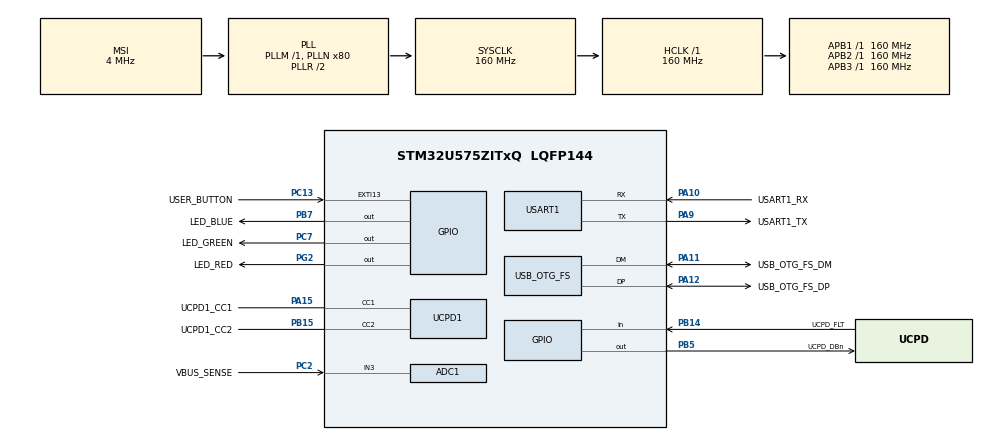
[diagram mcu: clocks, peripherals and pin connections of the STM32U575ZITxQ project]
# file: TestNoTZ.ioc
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ADC1.NbrOfConversion=1
ADC1.Resolution=ADC_RESOLUTION_14B
ADC1.master=1
CORTEX_M33_NS.userName=CORTEX_M33
Mcu.Family=STM32U5
Mcu.Name=STM32U575ZITxQ
Mcu.Package=LQFP144
NVIC.OTG_FS_IRQn=true\:0\:0\:false\:false\:true\:true\:true\:true
NVIC.PriorityGroup=NVIC_PRIORITYGROUP_3
NVIC.RNG_IRQn=true\:0\:0\:false\:false\:true\:true\:true\:true
NVIC.TIM1_UP_IRQn=true\:7\:0\:false\:false\:true\:false\:true\:true
NVIC.TimeBase=TIM1_UP_IRQn
NVIC.TimeBaseIP=TIM1
NVIC.USART1_IRQn=true\:0\:0\:false\:false\:true\:true\:true\:true
PA10.GPIO_Label=USART1_RX
PA10.GPIO_PuPd=GPIO_PULLDOWN
PA10.GPIO_Speed=GPIO_SPEED_FREQ_VERY_HIGH
PA10.Mode=Asynchronous
PA10.Signal=USART1_RX
PA11.GPIO_Label=USB_OTG_FS_DM
PA11.GPIO_Speed=GPIO_SPEED_FREQ_VERY_HIGH
PA11.Mode=Device_Only
PA11.Signal=USB_OTG_FS_DM
PA12.GPIO_Label=USB_OTG_FS_DP
PA12.GPIO_Speed=GPIO_SPEED_FREQ_VERY_HIGH
PA12.Mode=Device_Only
PA12.Signal=USB_OTG_FS_DP
PA13\ (JTMS/SWDIO).Mode=Trace_Asynchronous_SW
PA13\ (JTMS/SWDIO).Signal=DEBUG_JTMS-SWDIO
PA14\ (JTCK/SWCLK).Mode=Trace_Asynchronous_SW
PA14\ (JTCK/SWCLK).Signal=DEBUG_JTCK-SWCLK
PA15\ (JTDI).GPIO_Label=UCPD1_CC1
PA15\ (JTDI).Mode=Sink_AllSignals
PA15\ (JTDI).Signal=UCPD1_CC1
PA9.GPIO_Label=USART1_TX
PA9.GPIO_PuPd=GPIO_PULLDOWN
PA9.GPIO_Speed=GPIO_SPEED_FREQ_VERY_HIGH
PA9.Mode=Asynchronous
PA9.Signal=USART1_TX
PB14.GPIO_Label=UCPD_FLT
PB14.Signal=GPIO_Input
PB15.GPIO_Label=UCPD1_CC2
PB15.Mode=Sink_AllSignals
PB15.Signal=UCPD1_CC2
PB3\ (JTDO/TRACESWO).Mode=Trace_Asynchronous_SW
PB3\ (JTDO/TRACESWO).Signal=DEBUG_JTDO-SWO
PB5.GPIO_Label=UCPD_DBn
PB5.Signal=GPIO_Output
PB7.GPIO_Label=LED_BLUE
PB7.GPIO_ModeDefaultOutputPP=GPIO_MODE_OUTPUT_PP
PB7.GPIO_PuPd=GPIO_PULLUP
PB7.GPIO_Speed=GPIO_SPEED_FREQ_HIGH
PB7.Signal=GPIO_Output
PC13.GPIO_Label=USER_BUTTON
PC13.GPIO_ModeDefaultEXTI=GPIO_MODE_IT_FALLING
PC13.Signal=GPXTI13
PC14-OSC32_IN\ (PC14).Mode=LSE-External-Oscillator
PC14-OSC32_IN\ (PC14).Signal=RCC_OSC32_IN
PC15-OSC32_OUT\ (PC15).Mode=LSE-External-Oscillator
PC15-OSC32_OUT\ (PC15).Signal=RCC_OSC32_OUT
PC2.GPIO_Label=VBUS_SENSE
PC2.Mode=IN3-Single-Ended
PC2.Signal=ADC1_IN3
PC7.GPIO_Label=LED_GREEN
PC7.GPIO_PuPd=GPIO_PULLUP
PC7.GPIO_Speed=GPIO_SPEED_FREQ_HIGH
PC7.Signal=GPIO_Output
PG2.GPIO_Label=LED_RED
PG2.GPIO_ModeDefaultOutputPP=GPIO_MODE_OUTPUT_PP
PG2.GPIO_PuPd=GPIO_PULLUP
PG2.GPIO_Speed=GPIO_SPEED_FREQ_HIGH
PG2.Signal=GPIO_Output
PWR.PowerMode=PWR_SMPS_SUPPLY
ProjectManager.HeapSize=0x200
ProjectManager.StackSize=0x400
ProjectManager.TargetToolchain=STM32CubeIDE
RCC.ADCFreq_Value=16000000
RCC.AHBFreq_Value=160000000
RCC.APB1Freq_Value=160000000
RCC.APB1TimFreq_Value=160000000
RCC.APB2Freq_Value=160000000
RCC.APB2TimFreq_Value=160000000
RCC.APB3Freq_Value=160000000
RCC.CortexFreq_Value=160000000
RCC.DACCLockSelectionVirtual=RCC_DAC1CLKSOURCE_LSI
RCC.EPOD_VALUE=4000000
RCC.HCLKFreq_Value=160000000
RCC.HSE_VALUE=16000000
RCC.HSI48_VALUE=48000000
RCC.HSI_VALUE=16000000
RCC.LSIDIV_VALUE=32000
RCC.MSI_VALUE=4000000
RCC.PLLN=80
RCC.SYSCLKFreq_VALUE=160000000
RCC.SYSCLKSource=RCC_SYSCLKSOURCE_PLLCLK
RCC.USBFreq_Value=48000000
RCC.VCOOutputFreq_Value=320000000
USART1.VirtualMode-Asynchronous=VM_ASYNC
USB_OTG_FS.VirtualMode=Device_Only
VP_ICACHE_VS_ENABLE_ICACHE_MEMORY.Mode=Memoryregions
VP_ICACHE_VS_ICACHE.Mode=DirectMappedCache
VP_LPBAMQUEUE_VS_QUEUE.Mode=QUEUEMODE
VP_LPBAM_VS_SIG1.Mode=SmartRun
VP_LPBAM_VS_SIG4.Mode=LPDMA1
VP_MEMORYMAP_VS_MEMORYMAP.Mode=CurAppReg
VP_PWR_VS_DBSignals.Mode=DisableDeadBatterySignals
VP_PWR_VS_LPOM.Mode=PowerOptimisation
VP_PWR_VS_SECSignals.Mode=Security/Privilege
VP_PWR_Vdda.Mode=isolationVdda
VP_RNG_VS_RNG.Mode=RNG_Activate
VP_RTC_VS_RTC_Activate.Mode=RTC_Enabled
VP_SYS_VS_tim1.Mode=TIM1
VP_wolfSSL.I-CUBE-wolfSSL_VS_wolfSSLJjwolfSSL_5.7.2_5.7.2.Mode=wolfSSLJjwolfSSL
board=NUCLEO-U575ZI-Q
wolfSSL.I-CUBE-wolfSSL.5.7.2.WOLF_CONF_MATH=4
wolfSSL.I-CUBE-wolfSSL.5.7.2.wolfSSLCcwolfSSLJjwolfCryptJjCore=true
wolfSSL.I-CUBE-wolfSSL.5.7.2.wolfSSLCcwolfSSLJjwolfCryptJjTest=true
wolfSSL.I-CUBE-wolfSSL.5.7.2.wolfSSLCcwolfSSLJjwolfSSLJjCore=true

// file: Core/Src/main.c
/* USER CODE BEGIN Header */
/**
  ******************************************************************************
  * @file           : main.c
  * @brief          : Main program body
  ******************************************************************************
  * @attention
  *
  * Copyright (c) 2024 STMicroelectronics.
  * All rights reserved.
  *
  * This software is licensed under terms that can be found in the LICENSE file
  * in the root directory of this software component.
  * If no LICENSE file comes with this software, it is provided AS-IS.
  *
  ******************************************************************************
  */
/* USER CODE END Header */
#include "main.h"

/* USER CODE BEGIN Includes */
#include "wolfssl/options.h"
#include "wolfssl/wolfcrypt/rsa.h"
#include "wolfssl/wolfcrypt/random.h"
#include "wolfssl/wolfcrypt/error-crypt.h"
/* USER CODE END Includes */

ADC_HandleTypeDef hadc1;

RNG_HandleTypeDef hrng;

RTC_HandleTypeDef hrtc;

UART_HandleTypeDef huart1;

PCD_HandleTypeDef hpcd_USB_OTG_FS;

/* USER CODE BEGIN PV */
RsaKey rsaKey;
byte publicKeyDer[4096];
byte privateKeyDer[4096];
word32 publicKeyDerSz;
word32 privateKeyDerSz;
WC_RNG rng;
/* USER CODE END PV */

void SystemClock_Config(void);
static void SystemPower_Config(void);
static void MX_GPIO_Init(void);
static void MX_ADC1_Init(void);
static void MX_ICACHE_Init(void);
static void MX_UCPD1_Init(void);
static void MX_USART1_UART_Init(void);
static void MX_USB_OTG_FS_PCD_Init(void);
static void MX_RNG_Init(void);
static void MX_RTC_Init(void);
/* USER CODE BEGIN PFP */
/* Retargets the C library printf function to the USART. */
#include <stdio.h>
#ifdef __GNUC__
int __io_putchar(int ch)
#else
int fputc(int ch, FILE *f)
#endif
{
    HAL_UART_Transmit(&huart1, (uint8_t *)&ch, 1, 0xFFFF);

    return ch;
}
#ifdef __GNUC__
int _write(int file,char *ptr, int len)
{
    int DataIdx;
    for (DataIdx= 0; DataIdx< len; DataIdx++) {
        __io_putchar(*ptr++);
    }
    return len;
}
#endif
/* USER CODE END PFP */

/* USER CODE BEGIN 0 */
int rsa_encrypt(byte* input, word32 inputSz, byte* output, word32* outputSz) {
    int ret;
    RsaKey publicKey;
    word32 idx = 0;

    /* INITIALIZING RSA PUBLIC KEY */
    wc_InitRsaKey(&publicKey, NULL);

    /* DECODING PUBLIC KEY */
    ret = wc_RsaPublicKeyDecode(publicKeyDer, &idx, &publicKey, publicKeyDerSz);
    if (ret != 0) {
        return ret;
    }
    /* ENCRYPTING DATA */

    ret = wc_RsaPublicEncrypt(input, inputSz, output, *outputSz, &publicKey, &rng);
    if (ret < 0) {
        return ret;
    }

    *outputSz = ret;

    /* RELEASING RESOURCES */
    wc_FreeRsaKey(&publicKey);

    return ret;
}

int rsa_decrypt(byte* input, word32 inputSz, byte* output, word32* outputSz) {
    int ret;
    RsaKey privateKey;
    word32 idx = 0;

    /* INITIALIZING RSA PRIVATE KEY */
    wc_InitRsaKey(&privateKey, NULL);

    /* DECODING PUBLIC KEY */
    ret = wc_RsaPrivateKeyDecode(privateKeyDer, &idx, &privateKey, privateKeyDerSz);
    if (ret != 0) {
            return ret;
    }

    /* DECRYPTING DATA */
    wc_RsaSetRNG(&privateKey, &rng);
    ret = wc_RsaPrivateDecrypt(input, inputSz, output, *outputSz, &privateKey);
    if (ret < 0) {
        return ret;
    }

    *outputSz = ret;
    /* RELEASING RESOURCES */
    wc_FreeRsaKey(&privateKey);

    return ret;
}

int generate_rsa_key() {
    int ret;
    long e = 65537;

    // RsaKey initialization
    wc_InitRsaKey(&rsaKey, NULL);

    // generate 2048 bit long private key
    ret = wc_MakeRsaKey(&rsaKey, 2048, e, &rng);
    if( ret != 0 ) {
          return ret;
    }

    /* SAVING KEY IN DER FORMAT */
     privateKeyDerSz = sizeof(privateKeyDer);
     ret = wc_RsaKeyToDer(&rsaKey, privateKeyDer, privateKeyDerSz);
     if (ret < 0) {
         return ret;
     }

     privateKeyDerSz = ret; // actual size of the key

     /* EXTRACTING PUBLIC KEY */
     publicKeyDerSz = sizeof(publicKeyDer);
     ret = wc_RsaKeyToPublicDer(&rsaKey, publicKeyDer, publicKeyDerSz);
     if (ret < 0) {
         return ret;
     }

     publicKeyDerSz = ret;  // actual size of the key

     return ret;
}

int init_rng() {
    int to_return;
    to_return = wc_InitRng(&rng);
    if (to_return != 0) {
        return to_return;
    }
    return to_return;
}

void print_hex(const unsigned char* data, size_t len) {
    for (size_t i = 0; i < len; i++) {
        printf("%02x", data[i]);
    }
    printf("\r\n");
}

int hex_to_bytes(const char* hex_str, unsigned char* byte_array, size_t byte_array_len) {
    size_t hex_len = strlen(hex_str);
    if (hex_len % 2 != 0) {
        return -1;
    }

    if (hex_len / 2 > byte_array_len) {
        return -1;
    }

    for (size_t i = 0; i < hex_len; i += 2) {
        if (!isxdigit(hex_str[i]) || !isxdigit(hex_str[i + 1])) {
            return -1;
        }

        char byte_str[3] = { hex_str[i], hex_str[i + 1], '\0' };
        byte_array[i / 2] = (unsigned char)strtol(byte_str, NULL, 16);
    }

    return 0;
}

int rsa_enc_dec_example() {
    int ret;
    byte data[32] = "Test di cifratura";
    byte encrypted[256];
    byte decrypted[384];
    word32 inLen = sizeof(data);
    word32 outLen = sizeof(encrypted);
    word32 decryptedLen = 0;

    wolfCrypt_Init();

    ret = init_rng();
    if (ret != 0) {
        printf("Error init rng\n\r");
        goto exit;
    }

    ret = generate_rsa_key();
    if (ret < 0) {
        printf("Error rsa keygen\n\r");
        goto exit;
    }

    /* Dummy input data of all 4 */
//    memset(data, 4, inLen);

    ret = rsa_encrypt(data, inLen, encrypted, &outLen);
    if (ret < 0) {
        printf("Error rsa encrypt\n\r");
        goto exit;
    }

    decryptedLen = sizeof(decrypted);
    ret = rsa_decrypt(encrypted, outLen, decrypted, &decryptedLen);
    if (ret < 0) {
        printf("Error rsa decrypt\n\r");
        goto exit;
    }

    if (decryptedLen != inLen) {
        printf("Decrypt mismatch\n\r");
        ret = -1;
        goto exit;
    }

    if (XMEMCMP(data, decrypted, decryptedLen) != 0) {
        printf("Decrypt mismatch\n\r");
        ret = -1;
        goto exit;
    }

    ret = 0;
    printf("RSA decrypt success\n\r");

exit:
    return ret;
}
/* USER CODE END 0 */

int main(void)
{

  /* USER CODE BEGIN 1 */
	/* Turn off buffers, so I/O occurs immediately */
	setvbuf(stdin, NULL, _IONBF, 0);
	setvbuf(stdout, NULL, _IONBF, 0);
	setvbuf(stderr, NULL, _IONBF, 0);

  /* USER CODE END 1 */

  /* MCU Configuration--------------------------------------------------------*/

  /* Reset of all peripherals, Initializes the Flash interface and the Systick. */
  HAL_Init();

  /* Configure the system clock */
  SystemClock_Config();

  /* Configure the System Power */
  SystemPower_Config();

  /* Initialize all configured peripherals */
  MX_GPIO_Init();
  MX_ADC1_Init();
  MX_ICACHE_Init();
  MX_UCPD1_Init();
  MX_USART1_UART_Init();
  MX_USB_OTG_FS_PCD_Init();
  MX_RNG_Init();
  MX_RTC_Init();
  /* USER CODE BEGIN 2 */
  rsa_enc_dec_example();
  /* USER CODE END 2 */

  /* Infinite loop */
  while (1)
  {

  }
}

void SystemClock_Config(void)
{
  RCC_OscInitTypeDef RCC_OscInitStruct = {0};
  RCC_ClkInitTypeDef RCC_ClkInitStruct = {0};

  /** Configure the main internal regulator output voltage
  */
  if (HAL_PWREx_ControlVoltageScaling(PWR_REGULATOR_VOLTAGE_SCALE1) != HAL_OK)
  {
    Error_Handler();
  }

  /** Initializes the CPU, AHB and APB buses clocks
  */
  RCC_OscInitStruct.OscillatorType = RCC_OSCILLATORTYPE_HSI48|RCC_OSCILLATORTYPE_HSI
                              |RCC_OSCILLATORTYPE_LSI|RCC_OSCILLATORTYPE_MSI;
  RCC_OscInitStruct.HSIState = RCC_HSI_ON;
  RCC_OscInitStruct.HSI48State = RCC_HSI48_ON;
  RCC_OscInitStruct.HSICalibrationValue = RCC_HSICALIBRATION_DEFAULT;
  RCC_OscInitStruct.LSIState = RCC_LSI_ON;
  RCC_OscInitStruct.MSIState = RCC_MSI_ON;
  RCC_OscInitStruct.MSICalibrationValue = RCC_MSICALIBRATION_DEFAULT;
  RCC_OscInitStruct.MSIClockRange = RCC_MSIRANGE_4;
  RCC_OscInitStruct.LSIDiv = RCC_LSI_DIV1;
  RCC_OscInitStruct.PLL.PLLState = RCC_PLL_ON;
  RCC_OscInitStruct.PLL.PLLSource = RCC_PLLSOURCE_MSI;
  RCC_OscInitStruct.PLL.PLLMBOOST = RCC_PLLMBOOST_DIV1;
  RCC_OscInitStruct.PLL.PLLM = 1;
  RCC_OscInitStruct.PLL.PLLN = 80;
  RCC_OscInitStruct.PLL.PLLP = 2;
  RCC_OscInitStruct.PLL.PLLQ = 2;
  RCC_OscInitStruct.PLL.PLLR = 2;
  RCC_OscInitStruct.PLL.PLLRGE = RCC_PLLVCIRANGE_0;
  RCC_OscInitStruct.PLL.PLLFRACN = 0;
  if (HAL_RCC_OscConfig(&RCC_OscInitStruct) != HAL_OK)
  {
    Error_Handler();
  }

  /** Initializes the CPU, AHB and APB buses clocks
  */
  RCC_ClkInitStruct.ClockType = RCC_CLOCKTYPE_HCLK|RCC_CLOCKTYPE_SYSCLK
                              |RCC_CLOCKTYPE_PCLK1|RCC_CLOCKTYPE_PCLK2
                              |RCC_CLOCKTYPE_PCLK3;
  RCC_ClkInitStruct.SYSCLKSource = RCC_SYSCLKSOURCE_PLLCLK;
  RCC_ClkInitStruct.AHBCLKDivider = RCC_SYSCLK_DIV1;
  RCC_ClkInitStruct.APB1CLKDivider = RCC_HCLK_DIV1;
  RCC_ClkInitStruct.APB2CLKDivider = RCC_HCLK_DIV1;
  RCC_ClkInitStruct.APB3CLKDivider = RCC_HCLK_DIV1;

  if (HAL_RCC_ClockConfig(&RCC_ClkInitStruct, FLASH_LATENCY_4) != HAL_OK)
  {
    Error_Handler();
  }
}

/**
  * @brief Power Configuration
  * @retval None
  */
static void SystemPower_Config(void)
{
  HAL_PWREx_EnableVddIO2();

  /*
   * Switch to SMPS regulator instead of LDO
   */
  if (HAL_PWREx_ConfigSupply(PWR_SMPS_SUPPLY) != HAL_OK)
  {
    Error_Handler();
  }
}

static void MX_ADC1_Init(void)
{

  /** Common config
  */
  hadc1.Instance = ADC1;
  hadc1.Init.ClockPrescaler = ADC_CLOCK_ASYNC_DIV1;
  hadc1.Init.Resolution = ADC_RESOLUTION_14B;
  hadc1.Init.GainCompensation = 0;
  hadc1.Init.ScanConvMode = ADC_SCAN_DISABLE;
  hadc1.Init.EOCSelection = ADC_EOC_SINGLE_CONV;
  hadc1.Init.LowPowerAutoWait = DISABLE;
  hadc1.Init.ContinuousConvMode = DISABLE;
  hadc1.Init.NbrOfConversion = 1;
  hadc1.Init.DiscontinuousConvMode = DISABLE;
  hadc1.Init.DMAContinuousRequests = DISABLE;
  hadc1.Init.TriggerFrequencyMode = ADC_TRIGGER_FREQ_HIGH;
  hadc1.Init.Overrun = ADC_OVR_DATA_PRESERVED;
  hadc1.Init.LeftBitShift = ADC_LEFTBITSHIFT_NONE;
  hadc1.Init.ConversionDataManagement = ADC_CONVERSIONDATA_DR;
  hadc1.Init.OversamplingMode = DISABLE;
  if (HAL_ADC_Init(&hadc1) != HAL_OK)
  {
    Error_Handler();
  }

}

static void MX_ICACHE_Init(void)
{

  /** Enable instruction cache in 1-way (direct mapped cache)
  */
  if (HAL_ICACHE_ConfigAssociativityMode(ICACHE_1WAY) != HAL_OK)
  {
    Error_Handler();
  }
  if (HAL_ICACHE_Enable() != HAL_OK)
  {
    Error_Handler();
  }

}

static void MX_RNG_Init(void)
{

  hrng.Instance = RNG;
  hrng.Init.ClockErrorDetection = RNG_CED_ENABLE;
  if (HAL_RNG_Init(&hrng) != HAL_OK)
  {
    Error_Handler();
  }

}

static void MX_RTC_Init(void)
{

  RTC_PrivilegeStateTypeDef privilegeState = {0};

  /** Initialize RTC Only
  */
  hrtc.Instance = RTC;
  hrtc.Init.HourFormat = RTC_HOURFORMAT_24;
  hrtc.Init.AsynchPrediv = 127;
  hrtc.Init.SynchPrediv = 255;
  hrtc.Init.OutPut = RTC_OUTPUT_DISABLE;
  hrtc.Init.OutPutRemap = RTC_OUTPUT_REMAP_NONE;
  hrtc.Init.OutPutPolarity = RTC_OUTPUT_POLARITY_HIGH;
  hrtc.Init.OutPutType = RTC_OUTPUT_TYPE_OPENDRAIN;
  hrtc.Init.OutPutPullUp = RTC_OUTPUT_PULLUP_NONE;
  hrtc.Init.BinMode = RTC_BINARY_NONE;
  if (HAL_RTC_Init(&hrtc) != HAL_OK)
  {
    Error_Handler();
  }
  privilegeState.rtcPrivilegeFull = RTC_PRIVILEGE_FULL_NO;
  privilegeState.backupRegisterPrivZone = RTC_PRIVILEGE_BKUP_ZONE_NONE;
  privilegeState.backupRegisterStartZone2 = RTC_BKP_DR0;
  privilegeState.backupRegisterStartZone3 = RTC_BKP_DR0;
  if (HAL_RTCEx_PrivilegeModeSet(&hrtc, &privilegeState) != HAL_OK)
  {
    Error_Handler();
  }

}

static void MX_UCPD1_Init(void)
{

  LL_GPIO_InitTypeDef GPIO_InitStruct = {0};

  /* Peripheral clock enable */
  LL_APB1_GRP2_EnableClock(LL_APB1_GRP2_PERIPH_UCPD1);

  LL_AHB2_GRP1_EnableClock(LL_AHB2_GRP1_PERIPH_GPIOB);
  LL_AHB2_GRP1_EnableClock(LL_AHB2_GRP1_PERIPH_GPIOA);
  /**UCPD1 GPIO Configuration
  PB15   ------> UCPD1_CC2
  PA15 (JTDI)   ------> UCPD1_CC1
  */
  GPIO_InitStruct.Pin = LL_GPIO_PIN_15;
  GPIO_InitStruct.Mode = LL_GPIO_MODE_ANALOG;
  GPIO_InitStruct.Pull = LL_GPIO_PULL_NO;
  LL_GPIO_Init(GPIOB, &GPIO_InitStruct);

  GPIO_InitStruct.Pin = LL_GPIO_PIN_15;
  GPIO_InitStruct.Mode = LL_GPIO_MODE_ANALOG;
  GPIO_InitStruct.Pull = LL_GPIO_PULL_NO;
  LL_GPIO_Init(GPIOA, &GPIO_InitStruct);

}

static void MX_USART1_UART_Init(void)
{

  huart1.Instance = USART1;
  huart1.Init.BaudRate = 115200;
  huart1.Init.WordLength = UART_WORDLENGTH_8B;
  huart1.Init.StopBits = UART_STOPBITS_1;
  huart1.Init.Parity = UART_PARITY_NONE;
  huart1.Init.Mode = UART_MODE_TX_RX;
  huart1.Init.HwFlowCtl = UART_HWCONTROL_NONE;
  huart1.Init.OverSampling = UART_OVERSAMPLING_16;
  huart1.Init.OneBitSampling = UART_ONE_BIT_SAMPLE_DISABLE;
  huart1.Init.ClockPrescaler = UART_PRESCALER_DIV1;
  huart1.AdvancedInit.AdvFeatureInit = UART_ADVFEATURE_NO_INIT;
  if (HAL_UART_Init(&huart1) != HAL_OK)
  {
    Error_Handler();
  }
  if (HAL_UARTEx_SetTxFifoThreshold(&huart1, UART_TXFIFO_THRESHOLD_1_8) != HAL_OK)
  {
    Error_Handler();
  }
  if (HAL_UARTEx_SetRxFifoThreshold(&huart1, UART_RXFIFO_THRESHOLD_1_8) != HAL_OK)
  {
    Error_Handler();
  }
  if (HAL_UARTEx_DisableFifoMode(&huart1) != HAL_OK)
  {
    Error_Handler();
  }

}

static void MX_USB_OTG_FS_PCD_Init(void)
{

  hpcd_USB_OTG_FS.Instance = USB_OTG_FS;
  hpcd_USB_OTG_FS.Init.dev_endpoints = 6;
  hpcd_USB_OTG_FS.Init.speed = PCD_SPEED_FULL;
  hpcd_USB_OTG_FS.Init.phy_itface = PCD_PHY_EMBEDDED;
  hpcd_USB_OTG_FS.Init.Sof_enable = DISABLE;
  hpcd_USB_OTG_FS.Init.low_power_enable = DISABLE;
  hpcd_USB_OTG_FS.Init.lpm_enable = DISABLE;
  hpcd_USB_OTG_FS.Init.battery_charging_enable = DISABLE;
  hpcd_USB_OTG_FS.Init.use_dedicated_ep1 = DISABLE;
  hpcd_USB_OTG_FS.Init.vbus_sensing_enable = DISABLE;
  hpcd_USB_OTG_FS.Init.dma_enable = DISABLE;
  if (HAL_PCD_Init(&hpcd_USB_OTG_FS) != HAL_OK)
  {
    Error_Handler();
  }

}

static void MX_GPIO_Init(void)
{
  GPIO_InitTypeDef GPIO_InitStruct = {0};

  /* GPIO Ports Clock Enable */
  __HAL_RCC_GPIOC_CLK_ENABLE();
  __HAL_RCC_GPIOB_CLK_ENABLE();
  __HAL_RCC_GPIOG_CLK_ENABLE();
  __HAL_RCC_GPIOA_CLK_ENABLE();

  /*Configure GPIO pin Output Level */
  HAL_GPIO_WritePin(LED_RED_GPIO_Port, LED_RED_Pin, GPIO_PIN_RESET);

  /*Configure GPIO pin Output Level */
  HAL_GPIO_WritePin(LED_GREEN_GPIO_Port, LED_GREEN_Pin, GPIO_PIN_RESET);

  /*Configure GPIO pin Output Level */
  HAL_GPIO_WritePin(GPIOB, UCPD_DBn_Pin|LED_BLUE_Pin, GPIO_PIN_RESET);

  /*Configure GPIO pin : USER_BUTTON_Pin */
  GPIO_InitStruct.Pin = USER_BUTTON_Pin;
  GPIO_InitStruct.Mode = GPIO_MODE_IT_FALLING;
  GPIO_InitStruct.Pull = GPIO_NOPULL;
  HAL_GPIO_Init(USER_BUTTON_GPIO_Port, &GPIO_InitStruct);

  /*Configure GPIO pin : UCPD_FLT_Pin */
  GPIO_InitStruct.Pin = UCPD_FLT_Pin;
  GPIO_InitStruct.Mode = GPIO_MODE_INPUT;
  GPIO_InitStruct.Pull = GPIO_NOPULL;
  HAL_GPIO_Init(UCPD_FLT_GPIO_Port, &GPIO_InitStruct);

  /*Configure GPIO pin : LED_RED_Pin */
  GPIO_InitStruct.Pin = LED_RED_Pin;
  GPIO_InitStruct.Mode = GPIO_MODE_OUTPUT_PP;
  GPIO_InitStruct.Pull = GPIO_PULLUP;
  GPIO_InitStruct.Speed = GPIO_SPEED_FREQ_HIGH;
  HAL_GPIO_Init(LED_RED_GPIO_Port, &GPIO_InitStruct);

  /*Configure GPIO pin : LED_GREEN_Pin */
  GPIO_InitStruct.Pin = LED_GREEN_Pin;
  GPIO_InitStruct.Mode = GPIO_MODE_OUTPUT_PP;
  GPIO_InitStruct.Pull = GPIO_PULLUP;
  GPIO_InitStruct.Speed = GPIO_SPEED_FREQ_HIGH;
  HAL_GPIO_Init(LED_GREEN_GPIO_Port, &GPIO_InitStruct);

  /*Configure GPIO pin : UCPD_DBn_Pin */
  GPIO_InitStruct.Pin = UCPD_DBn_Pin;
  GPIO_InitStruct.Mode = GPIO_MODE_OUTPUT_PP;
  GPIO_InitStruct.Pull = GPIO_NOPULL;
  GPIO_InitStruct.Speed = GPIO_SPEED_FREQ_LOW;
  HAL_GPIO_Init(UCPD_DBn_GPIO_Port, &GPIO_InitStruct);

  /*Configure GPIO pin : LED_BLUE_Pin */
  GPIO_InitStruct.Pin = LED_BLUE_Pin;
  GPIO_InitStruct.Mode = GPIO_MODE_OUTPUT_PP;
  GPIO_InitStruct.Pull = GPIO_PULLUP;
  GPIO_InitStruct.Speed = GPIO_SPEED_FREQ_HIGH;
  HAL_GPIO_Init(LED_BLUE_GPIO_Port, &GPIO_InitStruct);

}

void HAL_TIM_PeriodElapsedCallback(TIM_HandleTypeDef *htim)
{
  if (htim->Instance == TIM1) {
    HAL_IncTick();
  }
}

void Error_Handler(void)
{
  __disable_irq();
  while (1)
  {
  }
}
